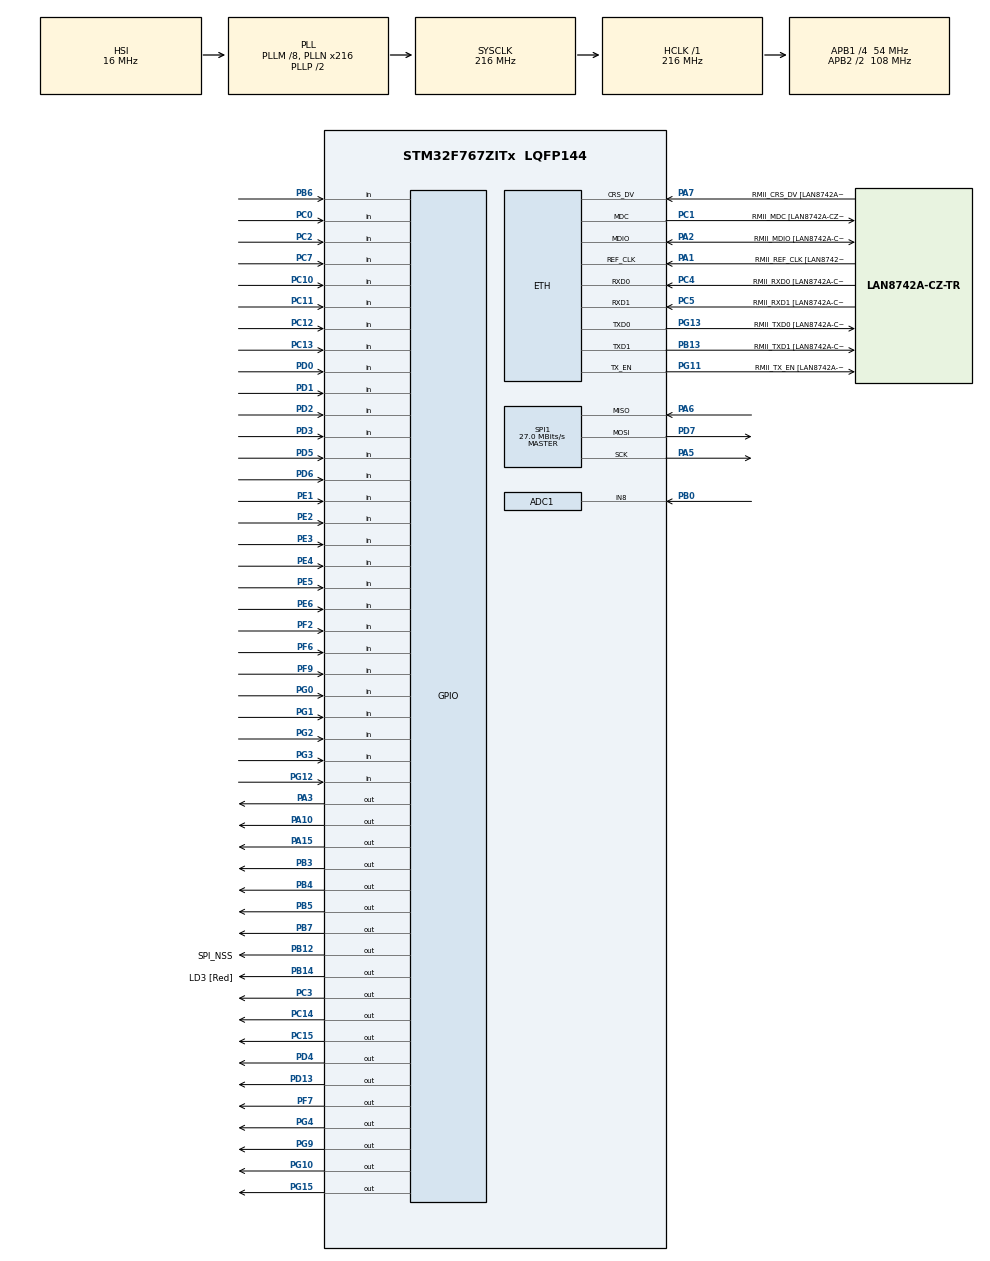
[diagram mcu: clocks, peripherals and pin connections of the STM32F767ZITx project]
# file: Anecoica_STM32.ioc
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ADC1.Channel-0\#ChannelRegularConversion=ADC_CHANNEL_8
ADC1.ContinuousConvMode=ENABLE
ADC1.EOCSelection=ADC_EOC_SEQ_CONV
ADC1.InjNumberOfConversion=0
ADC1.NbrOfConversion=1
ADC1.NbrOfConversionFlag=1
ADC1.Rank-0\#ChannelRegularConversion=1
ADC1.SamplingTime-0\#ChannelRegularConversion=ADC_SAMPLETIME_480CYCLES
ADC1.master=1
ETH.MediaInterface=ETH_MEDIA_INTERFACE_RMII
ETH.PHY_Name=LAN8742A_PHY_ADDRESS
ETH.PHY_Value=0
ETH.PhyAddress=0
FREERTOS.Tasks01=defaultTask,1,128,StartDefaultTask,Default,NULL,Dynamic,NULL,NULL
FREERTOS.configMAX_PRIORITIES=16
FREERTOS.configTICK_RATE_HZ=1000
LWIP.GATEWAY_ADDRESS=010.042.000.001
LWIP.IP_ADDRESS=010.042.000.002
LWIP.LWIP_DHCP=0
LWIP.LWIP_SO_RCVTIMEO=1
LWIP.LWIP_TCPIP_TIMEOUT=1
LWIP.LWIP_TCP_CLOSE_TIMEOUT_MS_DEFAULT=100
LWIP.LWIP_TCP_KEEPALIVE=1
LWIP.NETMASK_ADDRESS=255.255.255.000
LWIP.SO_REUSE=1
LWIP.Version=v2.0.3_Cube
Mcu.Family=STM32F7
Mcu.Name=STM32F767ZITx
Mcu.Package=LQFP144
NVIC.ETH_IRQn=true\:5\:0\:false\:false\:true\:true\:false
NVIC.PriorityGroup=NVIC_PRIORITYGROUP_4
NVIC.TIM1_UP_TIM10_IRQn=true\:0\:0\:false\:false\:true\:false\:false
NVIC.TimeBase=TIM1_UP_TIM10_IRQn
NVIC.TimeBaseIP=TIM1
PA1.GPIO_Label=RMII_REF_CLK [LAN8742A-CZ-TR_REFCLK0]
PA1.Mode=RMII
PA1.Signal=ETH_REF_CLK
PA10.GPIO_ModeDefaultOutputPP=GPIO_MODE_OUTPUT_OD
PA10.Signal=GPIO_Output
PA15.Signal=GPIO_Output
PA2.GPIO_Label=RMII_MDIO [LAN8742A-CZ-TR_MDIO]
PA2.Mode=RMII
PA2.Signal=ETH_MDIO
PA3.GPIO_ModeDefaultOutputPP=GPIO_MODE_OUTPUT_OD
PA3.Signal=GPIO_Output
PA5.Mode=Full_Duplex_Master
PA5.Signal=SPI1_SCK
PA6.Mode=Full_Duplex_Master
PA6.Signal=SPI1_MISO
PA7.GPIO_Label=RMII_CRS_DV [LAN8742A-CZ-TR_CRS_DV]
PA7.Mode=RMII
PA7.Signal=ETH_CRS_DV
PB0.Signal=ADCx_IN8
PB12.GPIO_Label=SPI_NSS
PB12.Signal=GPIO_Output
PB13.GPIO_Label=RMII_TXD1 [LAN8742A-CZ-TR_TXD1]
PB13.Mode=RMII
PB13.Signal=ETH_TXD1
PB14.GPIO_Label=LD3 [Red]
PB14.Signal=GPIO_Output
PB3.GPIO_ModeDefaultOutputPP=GPIO_MODE_OUTPUT_OD
PB3.Signal=GPIO_Output
PB4.GPIO_ModeDefaultOutputPP=GPIO_MODE_OUTPUT_OD
PB4.Signal=GPIO_Output
PB5.GPIO_ModeDefaultOutputPP=GPIO_MODE_OUTPUT_OD
PB5.GPIO_PuPd=GPIO_PULLUP
PB5.PinState=GPIO_PIN_SET
PB5.Signal=GPIO_Output
PB6.Signal=GPIO_Input
PB7.Signal=GPIO_Output
PC0.Signal=GPIO_Input
PC1.GPIO_Label=RMII_MDC [LAN8742A-CZ-TR_MDC]
PC1.Mode=RMII
PC1.Signal=ETH_MDC
PC10.Signal=GPIO_Input
PC11.Signal=GPIO_Input
PC12.Signal=GPIO_Input
PC13.Signal=GPIO_Input
PC14/OSC32_IN.Signal=GPIO_Output
PC15/OSC32_OUT.Signal=GPIO_Output
PC2.Signal=GPIO_Input
PC3.Signal=GPIO_Output
PC4.GPIO_Label=RMII_RXD0 [LAN8742A-CZ-TR_RXD0]
PC4.Mode=RMII
PC4.Signal=ETH_RXD0
PC5.GPIO_Label=RMII_RXD1 [LAN8742A-CZ-TR_RXD1]
PC5.Mode=RMII
PC5.Signal=ETH_RXD1
PC7.Signal=GPIO_Input
PD0.Signal=GPIO_Input
PD1.Signal=GPIO_Input
PD13.GPIO_ModeDefaultOutputPP=GPIO_MODE_OUTPUT_OD
PD13.Signal=GPIO_Output
PD2.Signal=GPIO_Input
PD3.Signal=GPIO_Input
PD4.Signal=GPIO_Output
PD5.Signal=GPIO_Input
PD6.Signal=GPIO_Input
PD7.Mode=Full_Duplex_Master
PD7.Signal=SPI1_MOSI
PE1.Signal=GPIO_Input
PE2.Signal=GPIO_Input
PE3.Signal=GPIO_Input
PE4.Signal=GPIO_Input
PE5.Signal=GPIO_Input
PE6.Signal=GPIO_Input
PF2.Signal=GPIO_Input
PF6.Signal=GPIO_Input
PF7.Signal=GPIO_Output
PF9.Signal=GPIO_Input
PG0.Signal=GPIO_Input
PG1.Signal=GPIO_Input
PG10.GPIO_PuPd=GPIO_PULLDOWN
PG10.Signal=GPIO_Output
PG11.GPIO_Label=RMII_TX_EN [LAN8742A-CZ-TR_TXEN]
PG11.Mode=RMII
PG11.Signal=ETH_TX_EN
PG12.Signal=GPIO_Input
PG13.GPIO_Label=RMII_TXD0 [LAN8742A-CZ-TR_TXD0]
PG13.Mode=RMII
PG13.Signal=ETH_TXD0
PG15.GPIO_PuPd=GPIO_PULLDOWN
PG15.Signal=GPIO_Output
PG2.Signal=GPIO_Input
PG3.Signal=GPIO_Input
PG4.GPIO_PuPd=GPIO_PULLDOWN
PG4.Signal=GPIO_Output
PG9.Signal=GPIO_Output
PH0/OSC_IN.GPIO_Label=MCO [STM32F103CBT6_PA8]
PH0/OSC_IN.Signal=RCC_OSC_IN
PH1/OSC_OUT.Signal=RCC_OSC_OUT
ProjectManager.HeapSize=0x400
ProjectManager.StackSize=0x800
ProjectManager.TargetToolchain=TrueSTUDIO
RCC.48MHZClocksFreq_Value=24000000
RCC.AHBFreq_Value=216000000
RCC.APB1CLKDivider=RCC_HCLK_DIV4
RCC.APB1Freq_Value=54000000
RCC.APB1TimFreq_Value=108000000
RCC.APB2CLKDivider=RCC_HCLK_DIV2
RCC.APB2Freq_Value=108000000
RCC.APB2TimFreq_Value=216000000
RCC.CortexFreq_Value=216000000
RCC.HCLKFreq_Value=216000000
RCC.HSE_VALUE=8000000
RCC.HSI_VALUE=16000000
RCC.LSE_VALUE=32768
RCC.PLLM=8
RCC.PLLMUL=RCC_PLL_MUL9
RCC.PLLN=216
RCC.PLLQ=4
RCC.PRESCALERUSB=RCC_USBCLKSOURCE_PLL_DIV1_5
RCC.SYSCLKFreq_VALUE=216000000
RCC.SYSCLKSource=RCC_SYSCLKSOURCE_PLLCLK
RCC.SYSCLKSourceVirtual=RCC_SYSCLKSOURCE_PLLCLK
RCC.USBFreq_Value=108000000
RCC.VCOOutputFreq_Value=432000000
SH.ADCx_IN8.0=ADC1_IN8,IN8
SPI1.BaudRatePrescaler=SPI_BAUDRATEPRESCALER_4
SPI1.CLKPolarity=SPI_POLARITY_HIGH
SPI1.CalculateBaudRate=27.0 MBits/s
SPI1.DataSize=SPI_DATASIZE_8BIT
SPI1.Direction=SPI_DIRECTION_2LINES
SPI1.Mode=SPI_MODE_MASTER
SPI1.NSSPMode=SPI_NSS_PULSE_DISABLE
SPI1.VirtualType=VM_MASTER
VP_FREERTOS_VS_ENABLE.Mode=Enabled
VP_LWIP_VS_Enabled.Mode=Enabled
VP_SYS_VS_tim1.Mode=TIM1
board=NUCLEO-F767ZI

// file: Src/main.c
/**
  ******************************************************************************
  * @file           : main.c
  * @brief          : Main program body
  ******************************************************************************
  * This notice applies to any and all portions of this file
  * that are not between comment pairs USER CODE BEGIN and
  * USER CODE END. Other portions of this file, whether
  * inserted by the user or by software development tools
  * are owned by their respective copyright owners.
  *
  * Copyright (c) 2019 STMicroelectronics International N.V.
  * All rights reserved.
  *
  * Redistribution and use in source and binary forms, with or without
  * modification, are permitted, provided that the following conditions are met:
  *
  * 1. Redistribution of source code must retain the above copyright notice,
  *    this list of conditions and the following disclaimer.
  * 2. Redistributions in binary form must reproduce the above copyright notice,
  *    this list of conditions and the following disclaimer in the documentation
  *    and/or other materials provided with the distribution.
  * 3. Neither the name of STMicroelectronics nor the names of other
  *    contributors to this software may be used to endorse or promote products
  *    derived from this software without specific written permission.
  * 4. This software, including modifications and/or derivative works of this
  *    software, must execute solely and exclusively on microcontroller or
  *    microprocessor devices manufactured by or for STMicroelectronics.
  * 5. Redistribution and use of this software other than as permitted under
  *    this license is void and will automatically terminate your rights under
  *    this license.
  *
  * THIS SOFTWARE IS PROVIDED BY STMICROELECTRONICS AND CONTRIBUTORS "AS IS"
  * AND ANY EXPRESS, IMPLIED OR STATUTORY WARRANTIES, INCLUDING, BUT NOT
  * LIMITED TO, THE IMPLIED WARRANTIES OF MERCHANTABILITY, FITNESS FOR A
  * PARTICULAR PURPOSE AND NON-INFRINGEMENT OF THIRD PARTY INTELLECTUAL PROPERTY
  * RIGHTS ARE DISCLAIMED TO THE FULLEST EXTENT PERMITTED BY LAW. IN NO EVENT
  * SHALL STMICROELECTRONICS OR CONTRIBUTORS BE LIABLE FOR ANY DIRECT, INDIRECT,
  * INCIDENTAL, SPECIAL, EXEMPLARY, OR CONSEQUENTIAL DAMAGES (INCLUDING, BUT NOT
  * LIMITED TO, PROCUREMENT OF SUBSTITUTE GOODS OR SERVICES; LOSS OF USE, DATA,
  * OR PROFITS; OR BUSINESS INTERRUPTION) HOWEVER CAUSED AND ON ANY THEORY OF
  * LIABILITY, WHETHER IN CONTRACT, STRICT LIABILITY, OR TORT (INCLUDING
  * NEGLIGENCE OR OTHERWISE) ARISING IN ANY WAY OUT OF THE USE OF THIS SOFTWARE,
  * EVEN IF ADVISED OF THE POSSIBILITY OF SUCH DAMAGE.
  *
  ******************************************************************************
  */
#include "main.h"
#include "stm32f7xx_hal.h"
#include "cmsis_os.h"
#include "adc.h"
#include "lwip.h"
#include "spi.h"
#include "gpio.h"

/* USER CODE BEGIN Includes */

#include "utils.h"
#include "dac.h"
#include "global_preferences.h"
#include "peripherals.h"

/* USER CODE END Includes */

/* USER CODE BEGIN PV */
/* Private variables ---------------------------------------------------------*/

/* USER CODE END PV */

void SystemClock_Config(void);
void MX_FREERTOS_Init(void);

/* USER CODE BEGIN PFP */
/* Private function prototypes -----------------------------------------------*/

/* USER CODE END PFP */

int main(void)
{

  /* MCU Configuration----------------------------------------------------------*/

  /* Reset of all peripherals, Initializes the Flash interface and the Systick. */
  HAL_Init();

  /* Configure the system clock */
  SystemClock_Config();

  /* Initialize all configured peripherals */
  MX_GPIO_Init();
  MX_ADC1_Init();
  MX_SPI1_Init();
  /* USER CODE BEGIN 2 */
  init_peripherials();
  DWT_Init();
  init_dac();
  HAL_GPIO_WritePin(GPIOB, GPIO_PIN_14, 1);
  //char axis = 2;
  //set_axis(&axis);

  /* USER CODE END 2 */

  /* Call init function for freertos objects (in freertos.c) */
  MX_FREERTOS_Init();

  /* Start scheduler */
  osKernelStart();

  /* We should never get here as control is now taken by the scheduler */

  /* Infinite loop */
	while (1) {

	}

}

void SystemClock_Config(void)
{

  RCC_OscInitTypeDef RCC_OscInitStruct;
  RCC_ClkInitTypeDef RCC_ClkInitStruct;

    /**Configure the main internal regulator output voltage
    */
  __HAL_RCC_PWR_CLK_ENABLE();

  __HAL_PWR_VOLTAGESCALING_CONFIG(PWR_REGULATOR_VOLTAGE_SCALE1);

    /**Initializes the CPU, AHB and APB busses clocks
    */
  RCC_OscInitStruct.OscillatorType = RCC_OSCILLATORTYPE_HSI;
  RCC_OscInitStruct.HSIState = RCC_HSI_ON;
  RCC_OscInitStruct.HSICalibrationValue = 16;
  RCC_OscInitStruct.PLL.PLLState = RCC_PLL_ON;
  RCC_OscInitStruct.PLL.PLLSource = RCC_PLLSOURCE_HSI;
  RCC_OscInitStruct.PLL.PLLM = 8;
  RCC_OscInitStruct.PLL.PLLN = 216;
  RCC_OscInitStruct.PLL.PLLP = RCC_PLLP_DIV2;
  RCC_OscInitStruct.PLL.PLLQ = 4;
  if (HAL_RCC_OscConfig(&RCC_OscInitStruct) != HAL_OK)
  {
    _Error_Handler(__FILE__, __LINE__);
  }

    /**Activate the Over-Drive mode
    */
  if (HAL_PWREx_EnableOverDrive() != HAL_OK)
  {
    _Error_Handler(__FILE__, __LINE__);
  }

    /**Initializes the CPU, AHB and APB busses clocks
    */
  RCC_ClkInitStruct.ClockType = RCC_CLOCKTYPE_HCLK|RCC_CLOCKTYPE_SYSCLK
                              |RCC_CLOCKTYPE_PCLK1|RCC_CLOCKTYPE_PCLK2;
  RCC_ClkInitStruct.SYSCLKSource = RCC_SYSCLKSOURCE_PLLCLK;
  RCC_ClkInitStruct.AHBCLKDivider = RCC_SYSCLK_DIV1;
  RCC_ClkInitStruct.APB1CLKDivider = RCC_HCLK_DIV4;
  RCC_ClkInitStruct.APB2CLKDivider = RCC_HCLK_DIV2;

  if (HAL_RCC_ClockConfig(&RCC_ClkInitStruct, FLASH_LATENCY_7) != HAL_OK)
  {
    _Error_Handler(__FILE__, __LINE__);
  }

    /**Configure the Systick interrupt time
    */
  HAL_SYSTICK_Config(HAL_RCC_GetHCLKFreq()/1000);

    /**Configure the Systick
    */
  HAL_SYSTICK_CLKSourceConfig(SYSTICK_CLKSOURCE_HCLK);

  /* SysTick_IRQn interrupt configuration */
  HAL_NVIC_SetPriority(SysTick_IRQn, 15, 0);
}

void HAL_TIM_PeriodElapsedCallback(TIM_HandleTypeDef *htim)
{
  if (htim->Instance == TIM1) {
    HAL_IncTick();
  }
}

void _Error_Handler(char *file, int line)
{
	while (1) {
	}
}

/************************ (C) COPYRIGHT STMicroelectronics *****END OF FILE****/

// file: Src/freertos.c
/* USER CODE BEGIN Header */
/**
 ******************************************************************************
 * File Name          : freertos.c
 * Description        : Code for freertos applications
 ******************************************************************************
 * This notice applies to any and all portions of this file
 * that are not between comment pairs USER CODE BEGIN and
 * USER CODE END. Other portions of this file, whether
 * inserted by the user or by software development tools
 * are owned by their respective copyright owners.
 *
 * Copyright (c) 2018 STMicroelectronics International N.V.
 * All rights reserved.
 *
 * Redistribution and use in source and binary forms, with or without
 * modification, are permitted, provided that the following conditions are met:
 *
 * 1. Redistribution of source code must retain the above copyright notice,
 *    this list of conditions and the following disclaimer.
 * 2. Redistributions in binary form must reproduce the above copyright notice,
 *    this list of conditions and the following disclaimer in the documentation
 *    and/or other materials provided with the distribution.
 * 3. Neither the name of STMicroelectronics nor the names of other
 *    contributors to this software may be used to endorse or promote products
 *    derived from this software without specific written permission.
 * 4. This software, including modifications and/or derivative works of this
 *    software, must execute solely and exclusively on microcontroller or
 *    microprocessor devices manufactured by or for STMicroelectronics.
 * 5. Redistribution and use of this software other than as permitted under
 *    this license is void and will automatically terminate your rights under
 *    this license.
 *
 * THIS SOFTWARE IS PROVIDED BY STMICROELECTRONICS AND CONTRIBUTORS "AS IS"
 * AND ANY EXPRESS, IMPLIED OR STATUTORY WARRANTIES, INCLUDING, BUT NOT
 * LIMITED TO, THE IMPLIED WARRANTIES OF MERCHANTABILITY, FITNESS FOR A
 * PARTICULAR PURPOSE AND NON-INFRINGEMENT OF THIRD PARTY INTELLECTUAL PROPERTY
 * RIGHTS ARE DISCLAIMED TO THE FULLEST EXTENT PERMITTED BY LAW. IN NO EVENT
 * SHALL STMICROELECTRONICS OR CONTRIBUTORS BE LIABLE FOR ANY DIRECT, INDIRECT,
 * INCIDENTAL, SPECIAL, EXEMPLARY, OR CONSEQUENTIAL DAMAGES (INCLUDING, BUT NOT
 * LIMITED TO, PROCUREMENT OF SUBSTITUTE GOODS OR SERVICES; LOSS OF USE, DATA,
 * OR PROFITS; OR BUSINESS INTERRUPTION) HOWEVER CAUSED AND ON ANY THEORY OF
 * LIABILITY, WHETHER IN CONTRACT, STRICT LIABILITY, OR TORT (INCLUDING
 * NEGLIGENCE OR OTHERWISE) ARISING IN ANY WAY OUT OF THE USE OF THIS SOFTWARE,
 * EVEN IF ADVISED OF THE POSSIBILITY OF SUCH DAMAGE.
 *
 ******************************************************************************
 */
/* USER CODE END Header */

#include "FreeRTOS.h"
#include "task.h"
#include "main.h"
#include "cmsis_os.h"

/* USER CODE BEGIN Includes */

#include "stm32f7xx_hal.h"

#include "tcp.h"
#include "modes.h"
#include "motor_driver.h"
#include "peripherals.h"

/* USER CODE END Includes */

osThreadId defaultTaskHandle;

void StartDefaultTask(void const * argument);

extern void MX_LWIP_Init(void);
void MX_FREERTOS_Init(void); /* (MISRA C 2004 rule 8.1) */

void MX_FREERTOS_Init(void) {

  /* Create the thread(s) */
  /* definition and creation of defaultTask */
  osThreadDef(defaultTask, StartDefaultTask, osPriorityAboveNormal, 0, 128);
  defaultTaskHandle = osThreadCreate(osThread(defaultTask), NULL);

  /* USER CODE BEGIN RTOS_THREADS */
	/* add threads, ... */
	osThreadDef(TCP_SERVER, tcp_server, osPriorityNormal, 0, configMINIMAL_STACK_SIZE * 2);
	osThreadCreate(osThread(TCP_SERVER), NULL);

	osThreadDef(MODES_THREAD, run_modes, osPriorityBelowNormal, 0, configMINIMAL_STACK_SIZE * 2);
	osThreadCreate(osThread(MODES_THREAD), NULL);

	osThreadDef(POSITION, position_updater, osPriorityHigh, 0, configMINIMAL_STACK_SIZE * 2);
	osThreadCreate(osThread(POSITION), NULL);

	osThreadDef(SPEED, speed_updater, osPriorityHigh, 0, configMINIMAL_STACK_SIZE * 2);
	osThreadCreate(osThread(SPEED), NULL);

	osThreadDef(LIMITS, limits_controller, osPriorityBelowNormal, 0, configMINIMAL_STACK_SIZE * 2);
	osThreadCreate(osThread(LIMITS), NULL);

  /* USER CODE END RTOS_THREADS */

}

void StartDefaultTask(void const * argument)
{
  /* init code for LWIP */
  MX_LWIP_Init();

  /* USER CODE BEGIN StartDefaultTask */
	for (;;) {
		osThreadTerminate(NULL);
	}
  /* USER CODE END StartDefaultTask */
}

/************************ (C) COPYRIGHT STMicroelectronics *****END OF FILE****/
